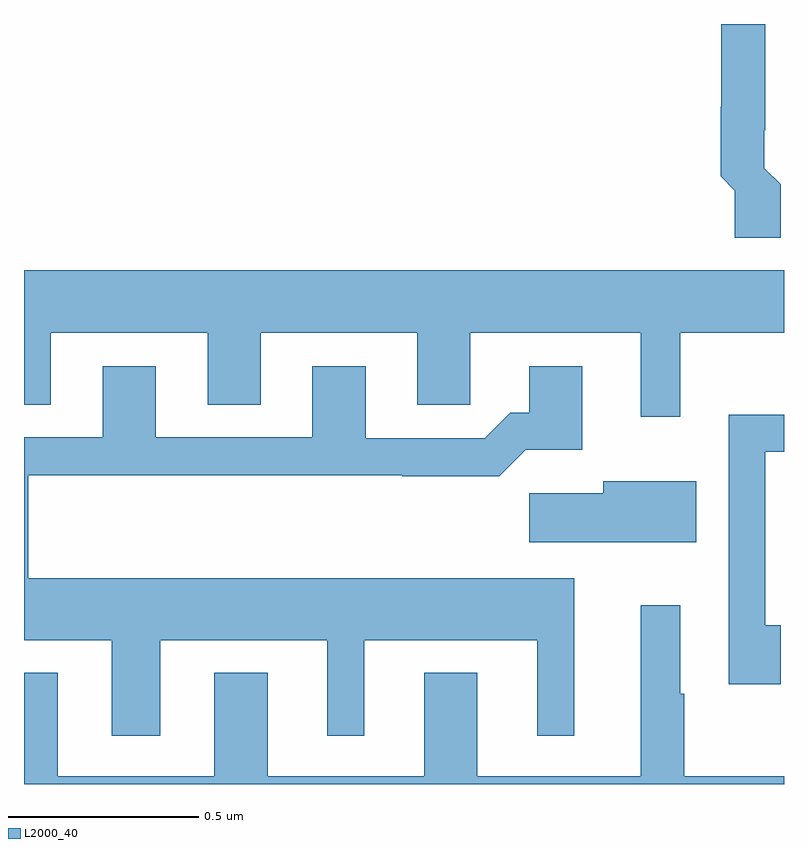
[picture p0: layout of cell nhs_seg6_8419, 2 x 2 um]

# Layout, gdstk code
import gdstk
lib = gdstk.Library(unit=1e-6, precision=1e-09)
def P(c, l, *ps):  # polygons
    for p in ps: c.add(gdstk.Polygon(p, *l))
L2000_40 = (2000, 40)

nhs_seg6_8419 = lib.new_cell('nhs_seg6_8419')
P(nhs_seg6_8419, L2000_40, [(222.991,929.078),(222.948,929.121),(222.948,929.221),(222.951,929.221),(222.951,929.5),(222.835,929.5),(222.835,929.282),(222.833,929.282),(222.833,929.1),(222.871,929.061),(222.871,928.938),(222.991,928.938)],
  [(222.727,928.688),(223,928.688),(223,928.852),(221,928.852),(221,928.498),(221.071,928.498),(221.071,928.688),(221.483,928.688),(221.483,928.498),(221.623,928.498),(221.623,928.688),(222.035,928.688),(222.035,928.498),(222.174,928.498),(222.174,928.688),(222.623,928.688),(222.623,928.467),(222.727,928.467)],
  [(221.359,927.878),(221.798,927.878),(221.798,927.627),(221.896,927.627),(221.896,927.878),(222.35,927.878),(222.35,927.627),(222.448,927.627),(222.448,928.042),(221.011,928.042),(221.011,928.312),(221.995,928.312),(221.995,928.31),(222.251,928.31),(222.32,928.379),(222.469,928.379),(222.469,928.6),(222.329,928.6),(222.329,928.477),(222.28,928.477),(222.213,928.41),(221.899,928.41),(221.899,928.6),(221.759,928.6),(221.759,928.413),(221.347,928.413),(221.347,928.6),(221.207,928.6),(221.207,928.413),(221,928.413),(221,927.878),(221.231,927.878),(221.231,927.627),(221.359,927.627)],
  [(222.991,927.918),(222.951,927.918),(222.951,928.374),(223,928.374),(223,928.472),(222.855,928.472),(222.855,927.762),(222.991,927.762)],
  [(222.769,928.297),(222.524,928.297),(222.524,928.265),(222.33,928.265),(222.33,928.136),(222.769,928.136)],
  [(223,927.52),(222.737,927.52),(222.737,927.737),(222.727,927.737),(222.727,927.97),(222.623,927.97),(222.623,927.52),(222.193,927.52),(222.193,927.793),(222.053,927.793),(222.053,927.52),(221.641,927.52),(221.641,927.793),(221.501,927.793),(221.501,927.52),(221.089,927.52),(221.089,927.793),(221,927.793),(221,927.5),(223,927.5)])

lib.write_gds('nhs_seg6_8419.gds')
